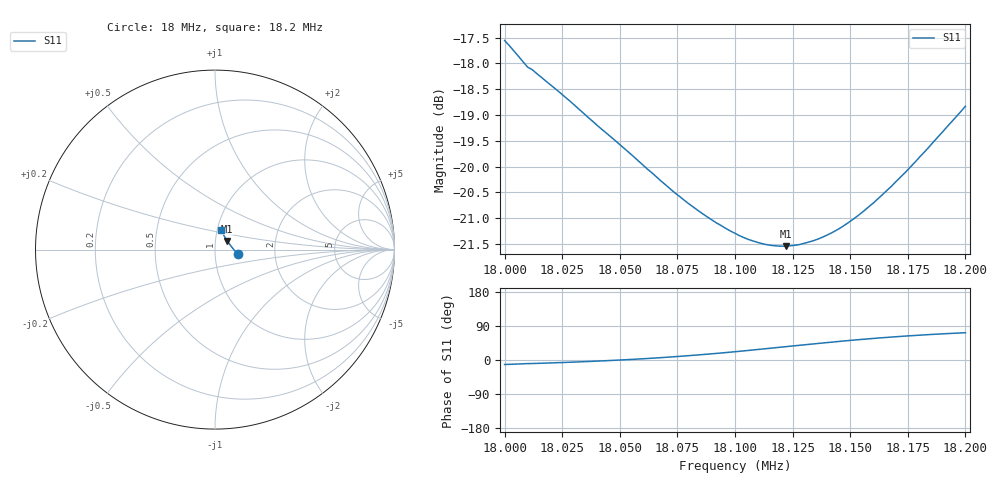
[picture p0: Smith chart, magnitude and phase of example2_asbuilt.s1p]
!File created by NanoVNA-F
# HZ S RI R 50
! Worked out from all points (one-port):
!   101 points, 18 MHz to 18.2 MHz, reference 50 ohm
!   lowest |S11| = -21.5 dB at 18.122 MHz (marker M1), VSWR 1.18, Z = 57.1 + j5.54 ohm
!   |S11| at or under -10 dB: start of sweep to end of sweep
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1.8e7  0.1297 -0.0272
1.801e7  0.1231 -0.0206
1.8012e7  0.1225 -0.02
1.8026e7  0.1162 -0.0131
1.804e7  0.1096 -0.00568
1.805e7  0.105 -0.000117
1.8068e7  0.0962 0.0106
1.8076e7  0.0922 0.0157
1.808e7  0.0902 0.0183
1.8088e7  0.0862 0.0237
1.8092e7  0.0841 0.0264
1.81e7  0.08 0.0321
1.8106e7  0.0768 0.0364
1.8112e7  0.0736 0.0408
1.8118e7  0.0705 0.0452
1.8122e7  0.0685 0.0482
1.8126e7  0.0665 0.0512
1.8128e7  0.0655 0.0527
1.8134e7  0.0626 0.0571
1.8138e7  0.0606 0.0602
1.8144e7  0.0577 0.0648
1.815e7  0.0548 0.0695
1.8156e7  0.0521 0.0741
1.816e7  0.0504 0.0772
1.8168e7  0.047 0.0834
1.8176e7  0.0439 0.0897
1.8184e7  0.0409 0.096
1.82e7  0.0354 0.1088
